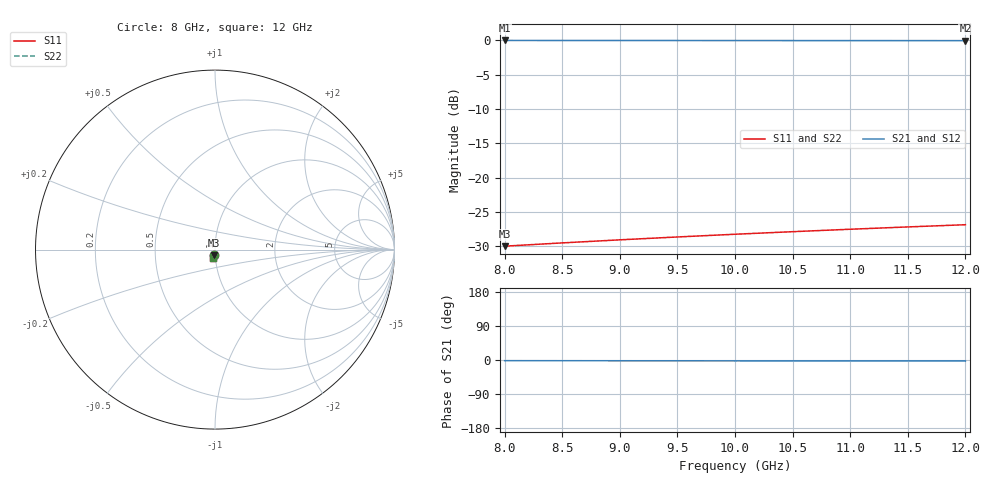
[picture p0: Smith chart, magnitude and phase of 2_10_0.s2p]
! Created Mon Oct 19 10:33:43 2020
# ghz S db R 50
! 2 Port Network Data from SP1.SP block
! freq  dbS11  angS11  dbS21  angS21  dbS12  angS12  dbS22  angS22
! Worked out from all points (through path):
!   9 points, 8 GHz to 12 GHz, reference 50 ohm
!   highest |S21| = -0.04 dB at 8 GHz (marker M1); lowest = -0.1 dB at 12 GHz (marker M2)
!   lowest |S11| = -30.0 dB at 8 GHz (marker M3), VSWR 1.07, Z = 49.4 - j3.09 ohm
!   |S11| at or under -10 dB: start of sweep to end of sweep
!   |S22| runs from -30.0 to -26.9 dB; largest |S21 - S12| = 0
8  -29.98 -99.6  -0.04 -1.8  -0.04 -1.8  -29.98 -99.6
8.5  -29.50 -99.9  -0.05 -1.9  -0.05 -1.9  -29.50 -99.9
9  -29.06 -100.2  -0.05 -2.0  -0.05 -2.0  -29.06 -100.2
9.5  -28.64 -100.5  -0.05 -2.1  -0.05 -2.1  -28.64 -100.5
10  -28.24 -100.8  -0.06 -2.2  -0.06 -2.2  -28.24 -100.8
10.5  -27.87 -101.0  -0.06 -2.3  -0.06 -2.3  -27.87 -101.0
11  -27.51 -101.3  -0.06 -2.4  -0.06 -2.4  -27.51 -101.3
11.5  -27.18 -101.5  -0.07 -2.5  -0.07 -2.5  -27.18 -101.5
12  -26.86 -101.7  -0.07 -2.6  -0.07 -2.6  -26.86 -101.7
